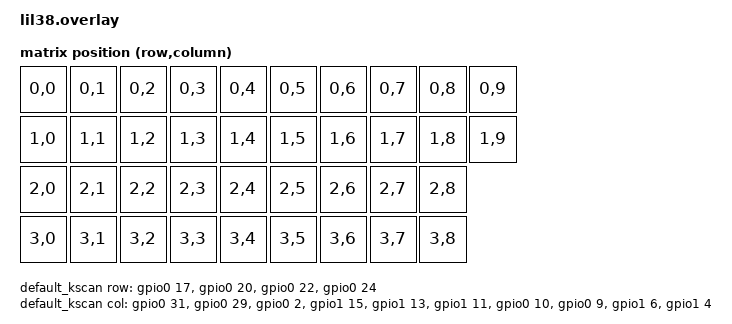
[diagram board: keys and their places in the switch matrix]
#include <dt-bindings/zmk/matrix_transform.h> // Put this with the other includes at the top of your overlay
#include "lil38-layout.dtsi"

/ {
    chosen{
        zephyr,code-partition = &code_partition;
        zephyr,sram = &sram0;
        zephyr,flash = &flash0;
        zmk,battery = &vbatt;
        zmk,physical-layout = &physical_layout_0;
    };

    &physical_layout_0 {
        transform = <&matrix_transform0>;
        kscan = <&default_kscan>
    }

    default_transform: matrix_transform {
        compatible = "zmk,matrix-transform";
        columns = <10>; // Length of the "col-gpios" array
        rows = <4>; // Length of the "row-gpios" array
        map = <

            RC(0,0) RC(0,1) RC(0,2) RC(0,3) RC(0,4) RC(0,5) RC(0,6) RC(0,7) RC(0,8) RC(0,9)
            RC(1,0) RC(1,1) RC(1,2) RC(1,3) RC(1,4) RC(1,5) RC(1,6) RC(1,7) RC(1,8) RC(1,9)
            RC(2,0) RC(2,1) RC(2,2) RC(2,3) RC(2,4) RC(2,5) RC(2,6) RC(2,7) RC(2,8) 
            RC(3,0) RC(3,1) RC(3,2) RC(3,3) RC(3,4) RC(3,5) RC(3,6) RC(3,7) RC(3,8) 

        >;
    };

    default_kscan: kscan {
        compatible = "zmk,kscan-gpio-matrix";
        label = "default_kscan";
        diode-direction = "row2col";

        wakeup-source;

        col-gpios
            = <&gpio0 31 (GPIO_ACTIVE_HIGH | GPIO_PULL_DOWN)>
            , <&gpio0 29 (GPIO_ACTIVE_HIGH | GPIO_PULL_DOWN)>
            , <&gpio0 2 (GPIO_ACTIVE_HIGH | GPIO_PULL_DOWN)>
            , <&gpio1 15 (GPIO_ACTIVE_HIGH | GPIO_PULL_DOWN)>
            , <&gpio1 13 (GPIO_ACTIVE_HIGH | GPIO_PULL_DOWN)>
            , <&gpio1 11 (GPIO_ACTIVE_HIGH | GPIO_PULL_DOWN)>
            , <&gpio0 10 (GPIO_ACTIVE_HIGH | GPIO_PULL_DOWN)>
            , <&gpio0 9 (GPIO_ACTIVE_HIGH | GPIO_PULL_DOWN)>
            , <&gpio1 6 (GPIO_ACTIVE_HIGH | GPIO_PULL_DOWN)>
            , <&gpio1 4 (GPIO_ACTIVE_HIGH | GPIO_PULL_DOWN)>
            ;

        row-gpios
            = <&gpio0 17 GPIO_ACTIVE_HIGH>
            , <&gpio0 20 GPIO_ACTIVE_HIGH>
            , <&gpio0 22 GPIO_ACTIVE_HIGH>
            , <&gpio0 24 GPIO_ACTIVE_HIGH>
            ;
    };
};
